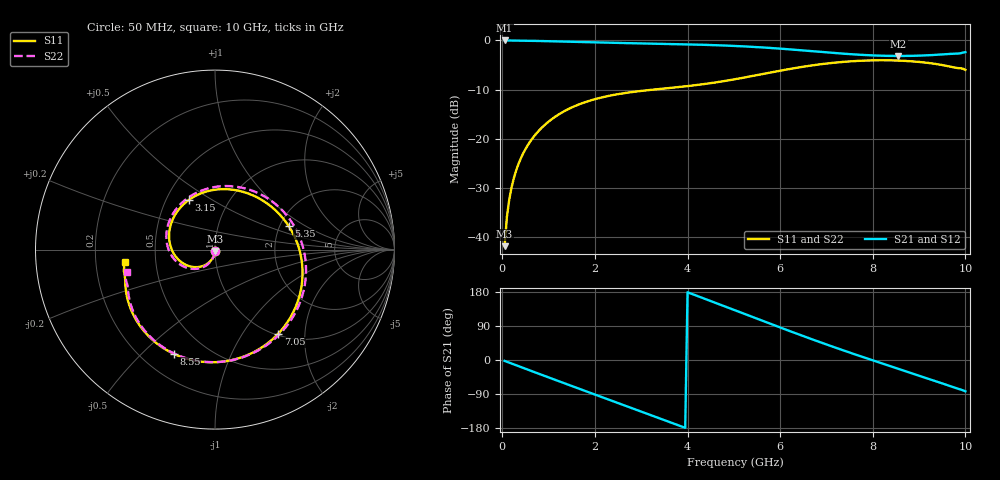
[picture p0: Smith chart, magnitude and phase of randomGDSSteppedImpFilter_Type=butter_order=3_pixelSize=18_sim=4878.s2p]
! freq	dB(S11)	phase(S11)	dB(S12)	phase(S12)
!  dB(S21)	phase(S21)	dB(S22)	phase(S22)
!S-par simulation data
#  GHz  S  DB  R 50
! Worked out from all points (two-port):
!   200 points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, 50 MHz to 10 GHz, reference 50 ohm
!   highest |S21| = 0.00 dB at 50 MHz (marker M1); lowest = -3.2 dB at 8.55 GHz (marker M2)
!   |S21| within 3 dB of the highest: start of sweep to 7.913 GHz; 9.215 GHz to end of sweep
!   lowest |S11| = -41.8 dB at 50 MHz (marker M3), VSWR 1.02, Z = 50 - j0.812 ohm
!   |S11| at or under -10 dB: start of sweep to 3.251 GHz
!   |S22| runs from -41.8 to -4.0 dB; largest |S21 - S12| = 0
!   S11 on the Smith chart (normalised r, x): 50 MHz: 1.00, -0.02; 3.15 GHz: 0.65, +0.40; 5.35 GHz: 2.23, +0.72; 7.05 GHz: 1.03, -1.47; 8.55 GHz: 0.33, -0.63; 10 GHz: 0.33, -0.06
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0.05  -41.80 -92.0  -0.00 -2.4  -0.00 -2.4  -41.79 -91.7
0.1  -35.81 -94.7  -0.01 -4.7  -0.01 -4.7  -35.81 -94.1
0.2  -29.86 -99.9  -0.02 -9.3  -0.02 -9.3  -29.86 -98.9
0.5  -22.08 -115.0  -0.06 -23.1  -0.06 -23.1  -22.08 -112.4
1.15  -15.45 -146.6  -0.19 -52.8  -0.19 -52.8  -15.45 -140.7
1.75  -12.67 -175.4  -0.33 -79.8  -0.33 -79.8  -12.67 -166.2
2.4  -11.08 153.6  -0.48 -108.9  -0.48 -108.9  -11.09 166.5
3.15  -10.10 118.0  -0.63 -142.6  -0.63 -142.6  -10.12 134.8
3.4  -9.86 106.2  -0.67 -153.9  -0.67 -153.9  -9.88 124.0
3.8  -9.48 87.4  -0.75 -172.1  -0.75 -172.1  -9.51 106.3
4.2  -9.05 68.9  -0.85 169.5  -0.85 169.5  -9.09 88.1
4.6  -8.54 50.8  -0.96 151.0  -0.96 151.0  -8.58 69.4
5.05  -7.84 30.9  -1.13 130.0  -1.13 130.0  -7.88 47.7
5.35  -7.32 17.9  -1.27 116.0  -1.27 116.0  -7.36 33.1
6  -6.15 -9.8  -1.66 85.8  -1.66 85.8  -6.18 1.5
6.7  -5.06 -38.9  -2.19 54.1  -2.19 54.1  -5.08 -31.5
7.05  -4.64 -53.1  -2.46 38.8  -2.46 38.8  -4.67 -47.2
7.7  -4.15 -78.8  -2.90 11.4  -2.90 11.4  -4.17 -75.0
8.35  -4.04 -103.9  -3.14 -15.0  -3.14 -15.0  -4.05 -101.2
8.55  -4.09 -111.6  -3.16 -23.0  -3.16 -23.0  -4.10 -109.0
9.3  -4.70 -141.3  -2.96 -53.4  -2.96 -53.4  -4.68 -138.0
10  -5.97 -172.3  -2.38 -82.6  -2.38 -82.6  -5.89 -165.8
